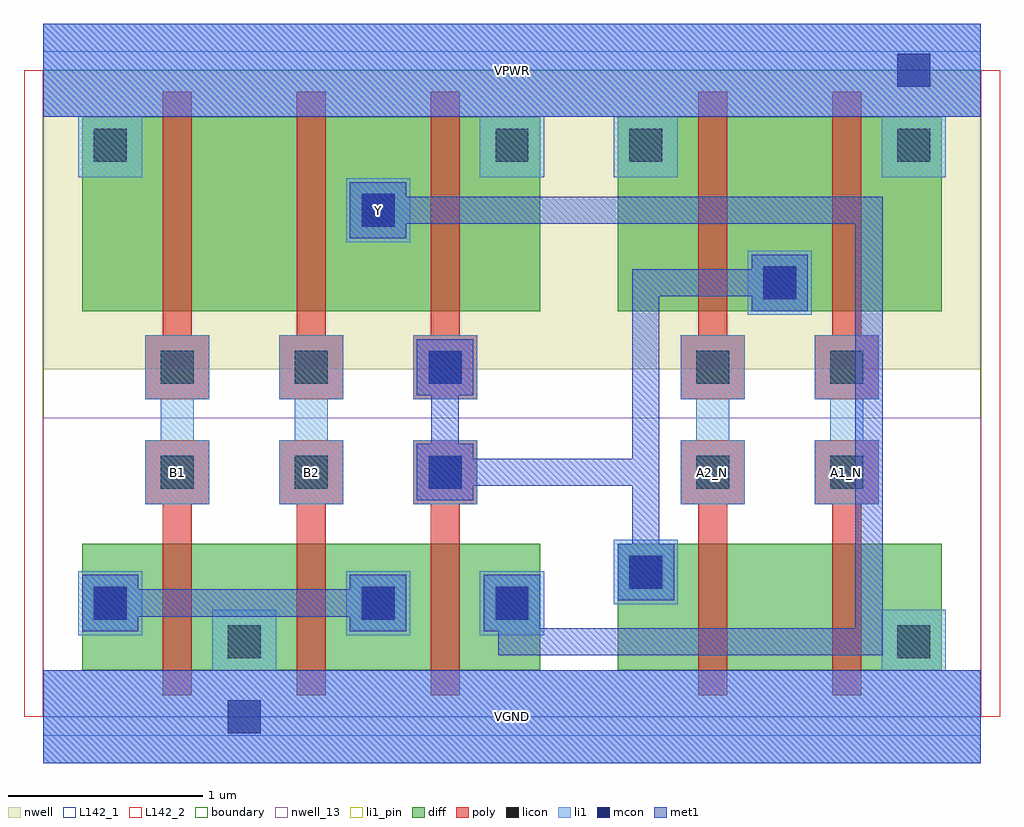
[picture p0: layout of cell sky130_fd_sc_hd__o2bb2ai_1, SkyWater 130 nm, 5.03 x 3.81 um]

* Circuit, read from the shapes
.subckt sky130_fd_sc_hd__o2bb2ai_1 A1_N A2_N B1 B2 VGND VPWR Y
XM1 VGND B1 n1 VSUBS sky130_fd_pr__nfet_01v8 w=0.65 l=0.15
XM2 n1 B2 VGND VSUBS sky130_fd_pr__nfet_01v8 w=0.65 l=0.15
XM3 Y n2 n1 VSUBS sky130_fd_pr__nfet_01v8 w=0.65 l=0.15
XM4 n3 A2_N n2 VSUBS sky130_fd_pr__nfet_01v8 w=0.65 l=0.15
XM5 VGND A1_N n3 VSUBS sky130_fd_pr__nfet_01v8 w=0.65 l=0.15
XM6 n4 B1 VPWR n5 sky130_fd_pr__pfet_01v8 w=1 l=0.15
XM7 Y B2 n4 n5 sky130_fd_pr__pfet_01v8 w=1 l=0.15
XM8 VPWR n2 Y n5 sky130_fd_pr__pfet_01v8 w=1 l=0.15
XM9 n2 A2_N VPWR n5 sky130_fd_pr__pfet_01v8 w=1 l=0.15
XM10 VPWR A1_N n2 n5 sky130_fd_pr__pfet_01v8 w=1 l=0.15
.ends

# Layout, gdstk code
import gdstk
lib = gdstk.Library(unit=1e-6, precision=1e-09)
def R(c, l, rs):  # rectangles x0, y0, x1, y1
    for r in rs: c.add(gdstk.rectangle(r[:2], r[2:], *l))
def A(c, l, x, y, w, h, nx, ny, dx, dy):  # array of equal rectangles
    R(c, l, [(x+i*dx, y+j*dy, x+i*dx+w, y+j*dy+h) for i in range(nx) for j in range(ny)])
def P(c, l, *ps):  # polygons
    for p in ps: c.add(gdstk.Polygon(p, *l))
nwell_13 = (64, 13)
nwell = (64, 20)
diff = (65, 20)
poly = (66, 20)
licon = (66, 44)
li1_pin = (67, 16)
li1 = (67, 20)
mcon = (67, 44)
met1 = (68, 20)
L142_1 = (142, 1)
L142_2 = (142, 2)
boundary = (235, 4)

sky130_fd_sc_hd__o2bb2ai = lib.new_cell('sky130_fd_sc_hd__o2bb2ai_1')
R(sky130_fd_sc_hd__o2bb2ai, nwell_13, [(0,0,4.83,1.54)])
R(sky130_fd_sc_hd__o2bb2ai, nwell, [(0,1.79,4.83,3.33)])
R(sky130_fd_sc_hd__o2bb2ai, diff, [(0.2,0.24,2.56,0.89), (0.2,0.24,0.615,0.89), (0.615,0.24,1.305,0.89), (1.305,0.24,1.995,0.89), (1.995,0.24,2.56,0.89), (2.96,0.24,4.63,0.89), (2.96,0.24,3.375,0.89), (3.375,0.24,4.065,0.89), (4.065,0.24,4.63,0.89), (0.2,2.09,2.56,3.09), (0.2,2.09,0.615,3.09), (0.615,2.09,1.305,3.09), (1.305,2.09,1.995,3.09), (1.995,2.09,2.56,3.09), (2.96,2.09,4.63,3.09), (2.96,2.09,3.375,3.09), (3.375,2.09,4.065,3.09), (4.065,2.09,4.63,3.09)])
P(sky130_fd_sc_hd__o2bb2ai, poly, [(1.305,0.11),(1.305,1.095),(1.215,1.095),(1.215,1.425),(1.545,1.425),(1.545,1.095),(1.455,1.095),(1.455,0.11)],
  [(1.215,1.635),(1.215,1.965),(1.305,1.965),(1.305,3.22),(1.455,3.22),(1.455,1.965),(1.545,1.965),(1.545,1.635)],
  [(3.375,0.11),(3.375,1.095),(3.285,1.095),(3.285,1.425),(3.615,1.425),(3.615,1.095),(3.525,1.095),(3.525,0.11)],
  [(3.285,1.635),(3.285,1.965),(3.375,1.965),(3.375,3.22),(3.525,3.22),(3.525,1.965),(3.615,1.965),(3.615,1.635)],
  [(0.615,0.11),(0.615,1.095),(0.525,1.095),(0.525,1.425),(0.855,1.425),(0.855,1.095),(0.765,1.095),(0.765,0.11)],
  [(0.525,1.635),(0.525,1.965),(0.615,1.965),(0.615,3.22),(0.765,3.22),(0.765,1.965),(0.855,1.965),(0.855,1.635)],
  [(4.065,0.11),(4.065,1.095),(3.975,1.095),(3.975,1.425),(4.305,1.425),(4.305,1.095),(4.215,1.095),(4.215,0.11)],
  [(3.975,1.635),(3.975,1.965),(4.065,1.965),(4.065,3.22),(4.215,3.22),(4.215,1.965),(4.305,1.965),(4.305,1.635)],
  [(1.995,0.11),(1.995,1.095),(1.905,1.095),(1.905,1.425),(2.235,1.425),(2.235,1.095),(2.145,1.095),(2.145,0.11)],
  [(1.905,1.635),(1.905,1.965),(1.995,1.965),(1.995,3.22),(2.145,3.22),(2.145,1.965),(2.235,1.965),(2.235,1.635)])
A(sky130_fd_sc_hd__o2bb2ai, licon, 0.605, 1.175, 0.17, 0.17, 3, 2, 0.69, 0.54)
R(sky130_fd_sc_hd__o2bb2ai, licon, [(0.95,0.3,1.12,0.47), (4.4,0.3,4.57,0.47), (0.26,0.5,0.43,0.67), (1.64,0.5,1.81,0.67), (2.33,0.5,2.5,0.67), (3.02,0.66,3.19,0.83), (3.365,1.175,3.535,1.345), (4.055,1.175,4.225,1.345), (3.365,1.715,3.535,1.885), (4.055,1.715,4.225,1.885), (3.71,2.15,3.88,2.32), (1.64,2.525,1.81,2.695), (0.26,2.86,0.43,3.03), (2.33,2.86,2.5,3.03), (3.02,2.86,3.19,3.03), (4.4,2.86,4.57,3.03)])
R(sky130_fd_sc_hd__o2bb2ai, li1_pin, [(0,-0.24,4.83,0.24), (1.56,2.445,1.89,2.775), (0,3.09,4.83,3.57)])
P(sky130_fd_sc_hd__o2bb2ai, li1_pin, [(3.975,1.095),(3.975,1.425),(4.055,1.425),(4.055,1.635),(3.975,1.635),(3.975,1.965),(4.305,1.965),(4.305,1.635),(4.225,1.635),(4.225,1.425),(4.305,1.425),(4.305,1.095)],
  [(1.215,1.095),(1.215,1.425),(1.295,1.425),(1.295,1.635),(1.215,1.635),(1.215,1.965),(1.545,1.965),(1.545,1.635),(1.465,1.635),(1.465,1.425),(1.545,1.425),(1.545,1.095)],
  [(0.525,1.095),(0.525,1.425),(0.605,1.425),(0.605,1.635),(0.525,1.635),(0.525,1.965),(0.855,1.965),(0.855,1.635),(0.775,1.635),(0.775,1.425),(0.855,1.425),(0.855,1.095)],
  [(3.285,1.095),(3.285,1.425),(3.365,1.425),(3.365,1.635),(3.285,1.635),(3.285,1.965),(3.615,1.965),(3.615,1.635),(3.535,1.635),(3.535,1.425),(3.615,1.425),(3.615,1.095)])
R(sky130_fd_sc_hd__o2bb2ai, li1, [(0.18,0.42,0.51,0.75), (1.56,0.42,1.89,0.75), (2.25,0.42,2.58,0.75), (2.94,0.58,3.27,0.91), (1.905,1.095,2.235,1.425), (1.905,1.635,2.235,1.965), (3.63,2.07,3.96,2.4), (1.56,2.445,1.89,2.775)])
P(sky130_fd_sc_hd__o2bb2ai, li1, [(1.215,1.095),(1.215,1.425),(1.295,1.425),(1.295,1.635),(1.215,1.635),(1.215,1.965),(1.545,1.965),(1.545,1.635),(1.465,1.635),(1.465,1.425),(1.545,1.425),(1.545,1.095)],
  [(0.18,2.78),(0.18,3.09),(0,3.09),(0,3.57),(4.83,3.57),(4.83,3.09),(4.65,3.09),(4.65,2.78),(4.32,2.78),(4.32,3.09),(3.27,3.09),(3.27,2.78),(2.94,2.78),(2.94,3.09),(2.58,3.09),(2.58,2.78),(2.25,2.78),(2.25,3.09),(0.51,3.09),(0.51,2.78)],
  [(0,-0.24),(0,0.24),(0.87,0.24),(0.87,0.55),(1.2,0.55),(1.2,0.24),(4.32,0.24),(4.32,0.55),(4.65,0.55),(4.65,0.24),(4.83,0.24),(4.83,-0.24)],
  [(3.285,1.095),(3.285,1.425),(3.365,1.425),(3.365,1.635),(3.285,1.635),(3.285,1.965),(3.615,1.965),(3.615,1.635),(3.535,1.635),(3.535,1.425),(3.615,1.425),(3.615,1.095)],
  [(0.525,1.095),(0.525,1.425),(0.605,1.425),(0.605,1.635),(0.525,1.635),(0.525,1.965),(0.855,1.965),(0.855,1.635),(0.775,1.635),(0.775,1.425),(0.855,1.425),(0.855,1.095)],
  [(3.975,1.095),(3.975,1.425),(4.055,1.425),(4.055,1.635),(3.975,1.635),(3.975,1.965),(4.305,1.965),(4.305,1.635),(4.225,1.635),(4.225,1.425),(4.305,1.425),(4.305,1.095)])
R(sky130_fd_sc_hd__o2bb2ai, mcon, [(0.95,-0.085,1.12,0.085), (0.26,0.5,0.43,0.67), (1.64,0.5,1.81,0.67), (2.33,0.5,2.5,0.67), (3.02,0.66,3.19,0.83), (1.985,1.175,2.155,1.345), (1.985,1.715,2.155,1.885), (3.71,2.15,3.88,2.32), (1.64,2.525,1.81,2.695), (4.4,3.245,4.57,3.415)])
R(sky130_fd_sc_hd__o2bb2ai, met1, [(0,-0.24,4.83,0.24), (0,3.09,4.83,3.57)])
P(sky130_fd_sc_hd__o2bb2ai, met1, [(2.345,0.315),(2.345,0.44),(2.27,0.44),(2.27,0.73),(2.56,0.73),(2.56,0.455),(4.185,0.455),(4.185,2.54),(1.87,2.54),(1.87,2.465),(1.58,2.465),(1.58,2.755),(1.87,2.755),(1.87,2.68),(4.325,2.68),(4.325,0.315)],
  [(0.2,0.44),(0.2,0.73),(0.49,0.73),(0.49,0.655),(1.58,0.655),(1.58,0.73),(1.87,0.73),(1.87,0.44),(1.58,0.44),(1.58,0.515),(0.49,0.515),(0.49,0.44)],
  [(2.96,0.6),(2.96,0.89),(3.035,0.89),(3.035,1.19),(2.215,1.19),(2.215,1.115),(1.925,1.115),(1.925,1.405),(2,1.405),(2,1.655),(1.925,1.655),(1.925,1.945),(2.215,1.945),(2.215,1.655),(2.14,1.655),(2.14,1.405),(2.215,1.405),(2.215,1.33),(3.035,1.33),(3.035,2.305),(3.65,2.305),(3.65,2.38),(3.94,2.38),(3.94,2.09),(3.65,2.09),(3.65,2.165),(3.175,2.165),(3.175,0.89),(3.25,0.89),(3.25,0.6)])
R(sky130_fd_sc_hd__o2bb2ai, L142_1, [(0,-0.1,4.83,0), (0,3.33,4.83,3.43)])
R(sky130_fd_sc_hd__o2bb2ai, L142_2, [(-0.1,0,0,3.33), (4.83,0,4.93,3.33)])
R(sky130_fd_sc_hd__o2bb2ai, boundary, [(0,0,4.83,3.33)])
sky130_fd_sc_hd__o2bb2ai.add(gdstk.Label('Y', (1.725,2.61), layer=67, texttype=5))
sky130_fd_sc_hd__o2bb2ai.add(gdstk.Label('A1_N', (4.14,1.26), layer=67, texttype=5))
sky130_fd_sc_hd__o2bb2ai.add(gdstk.Label('B2', (1.38,1.26), layer=67, texttype=5))
sky130_fd_sc_hd__o2bb2ai.add(gdstk.Label('B1', (0.69,1.26), layer=67, texttype=5))
sky130_fd_sc_hd__o2bb2ai.add(gdstk.Label('A2_N', (3.45,1.26), layer=67, texttype=5))
sky130_fd_sc_hd__o2bb2ai.add(gdstk.Label('VGND', (2.415,0), layer=67, texttype=5))
sky130_fd_sc_hd__o2bb2ai.add(gdstk.Label('VPWR', (2.415,3.33), layer=67, texttype=5))
sky130_fd_sc_hd__o2bb2ai.add(gdstk.Label('VGND', (2.415,0), layer=68, texttype=5))
sky130_fd_sc_hd__o2bb2ai.add(gdstk.Label('VPWR', (2.415,3.33), layer=68, texttype=5))

lib.write_gds('sky130_fd_sc_hd__o2bb2ai_1.gds')
